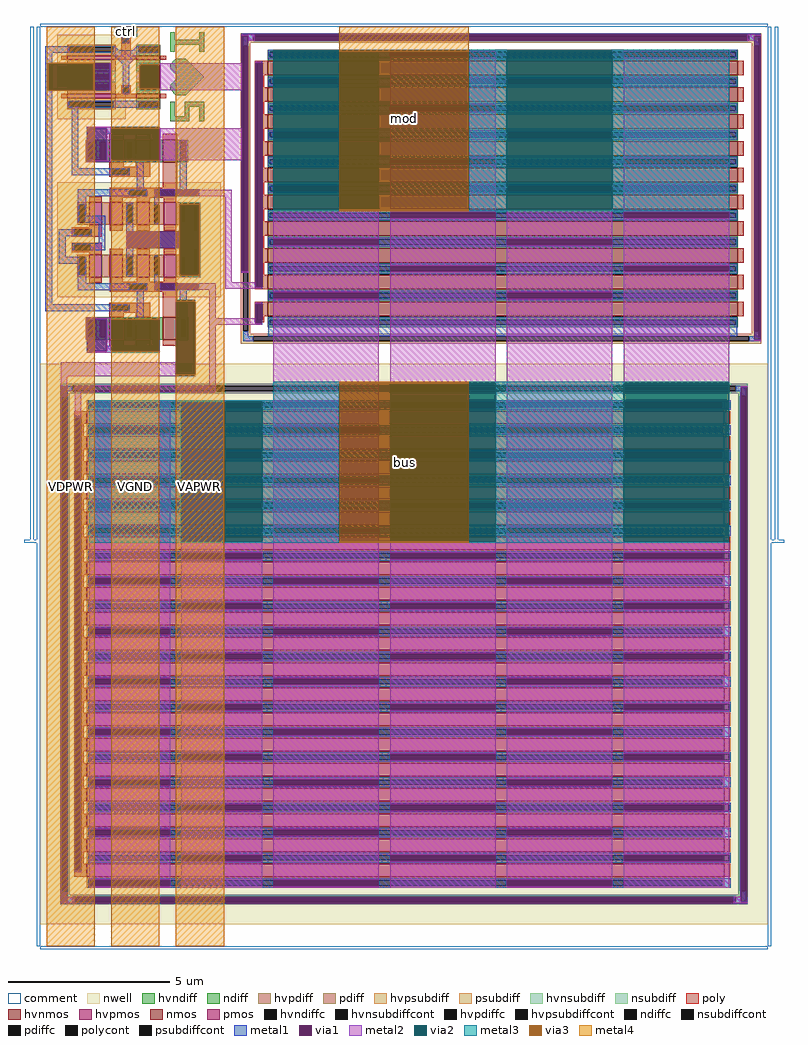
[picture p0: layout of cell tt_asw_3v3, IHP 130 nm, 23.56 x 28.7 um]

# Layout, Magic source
magic
tech ihp-sg13cmos5l
magscale 1 2
<< metal1 >>
rect 462 5679 602 5680
rect 462 5639 471 5679
rect 593 5639 602 5679
rect 462 5638 602 5639
rect 1248 5655 4468 5656
rect 1248 5646 1331 5655
rect 622 5465 746 5474
rect 622 5315 623 5465
rect 745 5315 746 5465
rect 622 5306 746 5315
rect 290 5071 414 5080
rect 290 4873 291 5071
rect 413 4873 414 5071
rect 290 4864 414 4873
rect 865 4599 989 4608
rect 865 4433 866 4599
rect 865 4161 866 4327
rect 988 4161 989 4599
rect 1248 4185 1249 5646
rect 1289 5615 1331 5646
rect 4385 5646 4468 5655
rect 4385 5615 4427 5646
rect 1289 5614 4427 5615
rect 1289 4185 1290 5614
rect 1414 5548 4322 5558
rect 1414 5508 2170 5548
rect 2824 5508 3618 5548
rect 4272 5508 4322 5548
rect 1414 5498 4322 5508
rect 1248 4176 1290 4185
rect 1334 5477 1376 5486
rect 865 4152 989 4161
rect 1334 4085 1335 5477
rect 1375 4085 1376 5477
rect 1414 5382 4322 5392
rect 1414 5342 1446 5382
rect 2100 5342 2894 5382
rect 3548 5342 4322 5382
rect 1414 5332 4322 5342
rect 1414 5216 4322 5226
rect 1414 5176 2170 5216
rect 2824 5176 3618 5216
rect 4272 5176 4322 5216
rect 1414 5166 4322 5176
rect 1414 5050 4322 5060
rect 1414 5010 1446 5050
rect 2100 5010 2894 5050
rect 3548 5010 4322 5050
rect 1414 5000 4322 5010
rect 1414 4884 4322 4894
rect 1414 4844 2170 4884
rect 2824 4844 3618 4884
rect 4272 4844 4322 4884
rect 1414 4834 4322 4844
rect 1414 4718 4322 4728
rect 1414 4678 1446 4718
rect 2100 4678 2894 4718
rect 3548 4678 4322 4718
rect 1414 4668 4322 4678
rect 1414 4552 4322 4562
rect 1414 4512 2170 4552
rect 2824 4512 3618 4552
rect 4272 4512 4322 4552
rect 1414 4502 4322 4512
rect 1414 4386 4322 4396
rect 1414 4346 1446 4386
rect 2100 4346 2894 4386
rect 3548 4346 4322 4386
rect 1414 4336 4322 4346
rect 1414 4220 4322 4230
rect 1414 4180 2170 4220
rect 2824 4180 3618 4220
rect 4272 4180 4322 4220
rect 1414 4170 4322 4180
rect 1334 4076 1376 4085
rect 1414 4054 4322 4064
rect 1414 4014 1446 4054
rect 2100 4014 2894 4054
rect 3548 4014 4322 4054
rect 1414 4004 4322 4014
rect 1334 3983 1376 3992
rect 290 3887 414 3896
rect 290 3689 291 3887
rect 413 3689 414 3887
rect 290 3680 414 3689
rect 1334 3861 1335 3983
rect 1375 3861 1376 3983
rect 1334 3852 1376 3861
rect 1414 3782 4322 3898
rect 4426 3759 4427 5614
rect 4467 3759 4468 5646
rect 4426 3750 4468 3759
rect 128 3465 170 3474
rect 128 274 129 3465
rect 169 306 170 3465
rect 4342 3465 4384 3474
rect 297 3376 4281 3386
rect 297 3336 876 3376
rect 1376 3336 2170 3376
rect 2824 3336 3618 3376
rect 4272 3336 4281 3376
rect 297 3326 4281 3336
rect 214 3280 256 3289
rect 214 468 215 3280
rect 255 468 256 3280
rect 297 3220 4281 3230
rect 297 3180 306 3220
rect 806 3180 1446 3220
rect 2100 3180 2894 3220
rect 3548 3180 4281 3220
rect 297 3170 4281 3180
rect 297 3064 4281 3074
rect 297 3024 876 3064
rect 1376 3024 2170 3064
rect 2824 3024 3618 3064
rect 4272 3024 4281 3064
rect 297 3014 4281 3024
rect 297 2908 4281 2918
rect 297 2868 306 2908
rect 806 2868 1446 2908
rect 2100 2868 2894 2908
rect 3548 2868 4281 2908
rect 297 2858 4281 2868
rect 297 2752 4281 2762
rect 297 2712 876 2752
rect 1376 2712 2170 2752
rect 2824 2712 3618 2752
rect 4272 2712 4281 2752
rect 297 2702 4281 2712
rect 297 2596 4281 2606
rect 297 2556 306 2596
rect 806 2556 1446 2596
rect 2100 2556 2894 2596
rect 3548 2556 4281 2596
rect 297 2546 4281 2556
rect 297 2440 4281 2450
rect 297 2400 876 2440
rect 1376 2400 2170 2440
rect 2824 2400 3618 2440
rect 4272 2400 4281 2440
rect 297 2390 4281 2400
rect 297 2284 4281 2294
rect 297 2244 306 2284
rect 806 2244 1446 2284
rect 2100 2244 2894 2284
rect 3548 2244 4281 2284
rect 297 2234 4281 2244
rect 297 2128 4281 2138
rect 297 2088 876 2128
rect 1376 2088 2170 2128
rect 2824 2088 3618 2128
rect 4272 2088 4281 2128
rect 297 2078 4281 2088
rect 297 1972 4281 1982
rect 297 1932 306 1972
rect 806 1932 1446 1972
rect 2100 1932 2894 1972
rect 3548 1932 4281 1972
rect 297 1922 4281 1932
rect 297 1816 4281 1826
rect 297 1776 876 1816
rect 1376 1776 2170 1816
rect 2824 1776 3618 1816
rect 4272 1776 4281 1816
rect 297 1766 4281 1776
rect 297 1660 4281 1670
rect 297 1620 306 1660
rect 806 1620 1446 1660
rect 2100 1620 2894 1660
rect 3548 1620 4281 1660
rect 297 1610 4281 1620
rect 297 1504 4281 1514
rect 297 1464 876 1504
rect 1376 1464 2170 1504
rect 2824 1464 3618 1504
rect 4272 1464 4281 1504
rect 297 1454 4281 1464
rect 297 1348 4281 1358
rect 297 1308 306 1348
rect 806 1308 1446 1348
rect 2100 1308 2894 1348
rect 3548 1308 4281 1348
rect 297 1298 4281 1308
rect 297 1192 4281 1202
rect 297 1152 876 1192
rect 1376 1152 2170 1192
rect 2824 1152 3618 1192
rect 4272 1152 4281 1192
rect 297 1142 4281 1152
rect 297 1036 4281 1046
rect 297 996 306 1036
rect 806 996 1446 1036
rect 2100 996 2894 1036
rect 3548 996 4281 1036
rect 297 986 4281 996
rect 297 880 4281 890
rect 297 840 876 880
rect 1376 840 2170 880
rect 2824 840 3618 880
rect 4272 840 4281 880
rect 297 830 4281 840
rect 297 724 4281 734
rect 297 684 306 724
rect 806 684 1446 724
rect 2100 684 2894 724
rect 3548 684 4281 724
rect 297 674 4281 684
rect 297 568 4281 578
rect 297 528 876 568
rect 1376 528 2170 568
rect 2824 528 3618 568
rect 4272 528 4281 568
rect 297 518 4281 528
rect 214 459 256 468
rect 297 412 4281 422
rect 297 372 306 412
rect 806 372 1446 412
rect 2100 372 2894 412
rect 3548 372 4281 412
rect 297 362 4281 372
rect 4342 306 4343 3465
rect 169 305 4343 306
rect 169 274 211 305
rect 128 265 211 274
rect 4301 274 4343 305
rect 4383 274 4384 3465
rect 4301 265 4384 274
rect 128 264 4384 265
<< via1 >>
rect 471 5639 593 5679
rect 181 5307 433 5473
rect 623 5315 745 5465
rect 291 4873 413 5071
rect 455 5039 660 5079
rect 702 4873 742 5071
rect 715 4651 978 4691
rect 866 4433 988 4599
rect 544 4327 988 4433
rect 866 4161 988 4327
rect 1249 4185 1289 5646
rect 1331 5615 4385 5655
rect 2170 5508 2824 5548
rect 3618 5508 4272 5548
rect 715 4069 978 4109
rect 1335 4085 1375 5477
rect 1446 5342 2100 5382
rect 2894 5342 3548 5382
rect 2170 5176 2824 5216
rect 3618 5176 4272 5216
rect 1446 5010 2100 5050
rect 2894 5010 3548 5050
rect 2170 4844 2824 4884
rect 3618 4844 4272 4884
rect 1446 4678 2100 4718
rect 2894 4678 3548 4718
rect 2170 4512 2824 4552
rect 3618 4512 4272 4552
rect 1446 4346 2100 4386
rect 2894 4346 3548 4386
rect 2170 4180 2824 4220
rect 3618 4180 4272 4220
rect 1446 4014 2100 4054
rect 2894 4014 3548 4054
rect 291 3689 413 3887
rect 455 3681 660 3721
rect 702 3689 742 3887
rect 1335 3861 1375 3983
rect 4427 3759 4467 5646
rect 129 274 169 3465
rect 876 3336 1376 3376
rect 2170 3336 2824 3376
rect 3618 3336 4272 3376
rect 215 468 255 3280
rect 306 3180 806 3220
rect 1446 3180 2100 3220
rect 2894 3180 3548 3220
rect 876 3024 1376 3064
rect 2170 3024 2824 3064
rect 3618 3024 4272 3064
rect 306 2868 806 2908
rect 1446 2868 2100 2908
rect 2894 2868 3548 2908
rect 876 2712 1376 2752
rect 2170 2712 2824 2752
rect 3618 2712 4272 2752
rect 306 2556 806 2596
rect 1446 2556 2100 2596
rect 2894 2556 3548 2596
rect 876 2400 1376 2440
rect 2170 2400 2824 2440
rect 3618 2400 4272 2440
rect 306 2244 806 2284
rect 1446 2244 2100 2284
rect 2894 2244 3548 2284
rect 876 2088 1376 2128
rect 2170 2088 2824 2128
rect 3618 2088 4272 2128
rect 306 1932 806 1972
rect 1446 1932 2100 1972
rect 2894 1932 3548 1972
rect 876 1776 1376 1816
rect 2170 1776 2824 1816
rect 3618 1776 4272 1816
rect 306 1620 806 1660
rect 1446 1620 2100 1660
rect 2894 1620 3548 1660
rect 876 1464 1376 1504
rect 2170 1464 2824 1504
rect 3618 1464 4272 1504
rect 306 1308 806 1348
rect 1446 1308 2100 1348
rect 2894 1308 3548 1348
rect 876 1152 1376 1192
rect 2170 1152 2824 1192
rect 3618 1152 4272 1192
rect 306 996 806 1036
rect 1446 996 2100 1036
rect 2894 996 3548 1036
rect 876 840 1376 880
rect 2170 840 2824 880
rect 3618 840 4272 880
rect 306 684 806 724
rect 1446 684 2100 724
rect 2894 684 3548 724
rect 876 528 1376 568
rect 2170 528 2824 568
rect 3618 528 4272 568
rect 306 372 806 412
rect 1446 372 2100 412
rect 2894 372 3548 412
rect 211 265 4301 305
rect 4343 274 4383 3465
<< metal2 >>
rect 462 5679 602 5680
rect 462 5639 471 5679
rect 593 5639 602 5679
rect 462 5638 602 5639
rect 1249 5646 1331 5655
rect 40 5306 49 5474
rect 331 5473 442 5474
rect 433 5307 442 5473
rect 331 5306 442 5307
rect 618 5465 1249 5474
rect 745 5315 1249 5465
rect 618 5306 1249 5315
rect 291 5079 742 5080
rect 291 5071 455 5079
rect 660 5072 742 5079
rect 660 5071 1249 5072
rect 413 4873 440 5071
rect 742 4873 1249 5071
rect 291 4872 1249 4873
rect 291 4864 742 4872
rect 706 4651 715 4691
rect 978 4651 1188 4691
rect 866 4599 988 4608
rect 535 4433 866 4434
rect 535 4327 544 4433
rect 535 4326 866 4327
rect 866 4152 988 4161
rect 1148 4116 1188 4651
rect 1289 5615 1331 5646
rect 4385 5646 4467 5655
rect 4385 5615 4427 5646
rect 1446 5549 2100 5558
rect 1249 4176 1289 4185
rect 1335 5477 1375 5486
rect 706 4069 715 4109
rect 978 4069 1088 4109
rect 1148 4085 1335 4116
rect 1148 4076 1375 4085
rect 1446 4386 2100 4567
rect 840 4000 962 4009
rect 291 3887 742 3896
rect 413 3689 440 3887
rect 291 3681 455 3689
rect 660 3681 742 3689
rect 291 3680 742 3681
rect 129 3543 840 3620
rect 129 3534 962 3543
rect 1048 3892 1088 4069
rect 1446 4054 2100 4346
rect 1335 3983 1375 3992
rect 1048 3861 1335 3892
rect 1048 3852 1375 3861
rect 129 3465 169 3534
rect 1048 3474 1088 3852
rect 215 3434 1088 3474
rect 215 3280 255 3434
rect 215 459 255 468
rect 306 3220 806 3386
rect 306 2908 806 3180
rect 306 2596 806 2868
rect 306 2284 806 2556
rect 306 1972 806 2244
rect 306 1660 806 1932
rect 306 1348 806 1620
rect 306 1036 806 1308
rect 306 724 806 996
rect 306 412 806 684
rect 306 362 806 372
rect 876 3377 1376 3386
rect 876 2440 1376 2509
rect 876 2128 1376 2400
rect 876 1816 1376 2088
rect 876 1504 1376 1776
rect 876 1192 1376 1464
rect 876 880 1376 1152
rect 876 568 1376 840
rect 876 362 1376 528
rect 1446 3220 2100 4014
rect 1446 2908 2100 3180
rect 1446 2596 2100 2868
rect 1446 2284 2100 2556
rect 1446 1972 2100 2244
rect 1446 1660 2100 1932
rect 1446 1348 2100 1620
rect 1446 1036 2100 1308
rect 1446 724 2100 996
rect 1446 412 2100 684
rect 1446 362 2100 372
rect 2170 5548 2824 5558
rect 2170 5216 2824 5508
rect 2170 4884 2824 5176
rect 2170 4552 2824 4844
rect 2170 4220 2824 4512
rect 2170 3491 2824 4180
rect 2170 2440 2824 2509
rect 2170 2128 2824 2400
rect 2170 1816 2824 2088
rect 2170 1504 2824 1776
rect 2170 1192 2824 1464
rect 2170 880 2824 1152
rect 2170 568 2824 840
rect 2170 362 2824 528
rect 2894 5549 3548 5558
rect 2894 4386 3548 4567
rect 2894 4054 3548 4346
rect 2894 3220 3548 4014
rect 2894 2908 3548 3180
rect 2894 2596 3548 2868
rect 2894 2284 3548 2556
rect 2894 1972 3548 2244
rect 2894 1660 3548 1932
rect 2894 1348 3548 1620
rect 2894 1036 3548 1308
rect 2894 724 3548 996
rect 2894 412 3548 684
rect 2894 362 3548 372
rect 3618 5548 4272 5558
rect 3618 5216 4272 5508
rect 3618 4884 4272 5176
rect 3618 4552 4272 4844
rect 3618 4220 4272 4512
rect 3618 3491 4272 4180
rect 4427 3750 4467 3759
rect 3618 2440 4272 2509
rect 3618 2128 4272 2400
rect 3618 1816 4272 2088
rect 3618 1504 4272 1776
rect 3618 1192 4272 1464
rect 3618 880 4272 1152
rect 3618 568 4272 840
rect 3618 362 4272 528
rect 4343 3465 4383 3474
rect 169 274 211 305
rect 129 265 211 274
rect 4301 274 4343 305
rect 4383 274 4384 305
rect 4301 265 4384 274
<< via2 >>
rect 471 5639 593 5679
rect 49 5473 331 5474
rect 49 5307 181 5473
rect 181 5307 331 5473
rect 49 5306 331 5307
rect 618 5315 623 5465
rect 623 5315 740 5465
rect 440 5039 455 5071
rect 455 5039 660 5071
rect 660 5039 702 5071
rect 440 4873 702 5039
rect 702 4873 740 5071
rect 866 4161 988 4599
rect 1446 5382 2100 5549
rect 1446 5342 2100 5382
rect 1446 5050 2100 5342
rect 1446 5010 2100 5050
rect 1446 4718 2100 5010
rect 1446 4678 2100 4718
rect 1446 4567 2100 4678
rect 440 3721 702 3887
rect 440 3689 455 3721
rect 455 3689 660 3721
rect 660 3689 702 3721
rect 702 3689 740 3887
rect 840 3543 962 4000
rect 876 3376 1376 3377
rect 876 3336 1376 3376
rect 876 3064 1376 3336
rect 876 3024 1376 3064
rect 876 2752 1376 3024
rect 876 2712 1376 2752
rect 876 2509 1376 2712
rect 2170 3376 2824 3491
rect 2170 3336 2824 3376
rect 2170 3064 2824 3336
rect 2170 3024 2824 3064
rect 2170 2752 2824 3024
rect 2170 2712 2824 2752
rect 2170 2509 2824 2712
rect 2894 5382 3548 5549
rect 2894 5342 3548 5382
rect 2894 5050 3548 5342
rect 2894 5010 3548 5050
rect 2894 4718 3548 5010
rect 2894 4678 3548 4718
rect 2894 4567 3548 4678
rect 3618 3376 4272 3491
rect 3618 3336 4272 3376
rect 3618 3064 4272 3336
rect 3618 3024 4272 3064
rect 3618 2752 4272 3024
rect 3618 2712 4272 2752
rect 3618 2509 4272 2712
<< metal3 >>
rect 462 5679 602 5700
rect 462 5639 471 5679
rect 593 5639 602 5679
rect 462 5638 602 5639
rect 1446 5549 4272 5558
rect 40 5306 49 5474
rect 331 5306 340 5474
rect 618 5465 740 5474
rect 618 5306 740 5315
rect 440 5071 740 5080
rect 440 4864 740 4873
rect 866 4599 988 4608
rect 2656 4567 2894 5549
rect 3548 4567 4272 5549
rect 1446 4558 4272 4567
rect 866 4152 988 4161
rect 840 4000 962 4009
rect 440 3887 740 3896
rect 440 3680 740 3689
rect 840 3534 962 3543
rect 1446 3491 4272 3500
rect 1446 3386 1856 3491
rect 306 3377 1856 3386
rect 306 2509 876 3377
rect 1376 2509 1856 3377
rect 2824 2509 3618 3491
rect 306 2500 4272 2509
<< via3 >>
rect 49 5306 331 5474
rect 618 5315 740 5465
rect 440 4873 740 5071
rect 866 4161 988 4599
rect 1856 4567 2100 5549
rect 2100 4567 2656 5549
rect 440 3689 740 3887
rect 840 3543 962 4000
rect 1856 2509 2170 3491
rect 2170 2509 2656 3491
<< metal4 >>
rect 40 5474 340 5700
rect 40 5306 49 5474
rect 331 5306 340 5474
rect 40 0 340 5306
rect 440 5465 740 5700
rect 440 5315 618 5465
rect 440 5071 740 5315
rect 440 3887 740 4873
rect 440 0 740 3689
rect 840 4599 1140 5700
rect 840 4161 866 4599
rect 988 4161 1140 4599
rect 1856 5549 2656 5700
rect 1856 4558 2656 4567
rect 840 4000 1140 4161
rect 962 3543 1140 4000
rect 840 0 1140 3543
rect 1856 3491 2656 3500
rect 1856 2500 2656 2509
<< comment >>
rect 0 5700 4512 5720
rect -60 2520 -40 5700
rect -20 2520 0 5700
rect -100 2500 0 2520
rect -20 0 0 2500
rect 4512 2520 4532 5700
rect 4556 2520 4576 5700
rect 4512 2500 4612 2520
rect 4512 0 4532 2500
rect 0 -20 4512 0
use lv2hv  lv2hv_0
transform 0 -1 1120 1 0 3680
box 0 0 2000 1088
use tg_nmos  tg_nmos_0
transform 1 0 1244 0 1 3736
box 0 0 3228 1924
use tg_pmos  tg_pmos_0
transform 1 0 0 0 1 136
box 0 0 4512 3476
<< labels >>
flabel metal4 s 440 0 740 5700 0 FreeSans 400 0 0 0 VGND
port 1 nsew ground input
flabel metal4 s 40 0 340 5700 0 FreeSans 400 0 0 0 VDPWR
port 2 nsew power input
flabel metal4 s 840 0 1140 5700 0 FreeSans 400 0 0 0 VAPWR
port 3 nsew power input
flabel metal4 s 1856 4558 2656 5700 0 FreeSans 240 0 0 0 mod
port 5 nsew analog bidirectional
flabel metal4 s 1856 2500 2656 3500 0 FreeSans 240 0 0 0 bus
port 6 nsew analog bidirectional
flabel metal3 s 462 5638 602 5700 0 FreeSans 240 0 0 0 ctrl
port 4 nsew signal input
<< properties >>
string FIXED_BBOX 0 0 4512 5700
<< end >>

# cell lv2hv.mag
magic
tech ihp-sg13cmos5l
magscale 1 2
<< ndiff >>
rect 1435 284 1555 314
rect 1435 224 1465 284
tri 1597 279 1632 314 se
rect 1632 279 1659 314
rect 1597 272 1659 279
tri 1659 272 1701 314 sw
tri 1719 272 1761 314 se
rect 1761 279 1788 314
tri 1788 279 1823 314 sw
rect 1865 284 1985 314
rect 1761 272 1823 279
rect 1435 194 1555 224
rect 1525 134 1555 194
rect 1435 104 1555 134
rect 1597 217 1823 272
tri 1597 104 1710 217 ne
tri 1710 104 1823 217 nw
rect 1910 134 1940 284
rect 1865 104 1985 134
<< metal1 >>
rect 258 1046 1901 1088
rect 258 883 300 1046
rect 1859 948 1901 1046
rect 1100 883 1519 925
rect 0 377 42 827
rect 388 133 430 175
rect 646 133 754 585
rect 1358 377 1400 827
rect 1626 678 1794 948
rect 1918 566 2000 610
rect 1626 378 1794 498
rect 970 133 1012 175
use lv2hv_core  lv2hv_core_0
transform 0 1 0 -1 0 1014
box 0 0 1014 1400
use lv2hv_dual_inv  lv2hv_dual_inv_0
transform 0 1 1448 -1 0 1014
box 0 0 676 552
<< labels >>
flabel metal1 s 1626 378 1794 498 0 FreeSans 400 0 0 0 VGND
port 1 nsew
flabel metal1 s 1358 377 1400 827 0 FreeSans 400 0 0 0 VGND
port 1 nsew
flabel metal1 s 0 377 42 827 0 FreeSans 400 0 0 0 VGND
port 1 nsew
flabel metal1 s 1626 678 1794 948 0 FreeSans 400 0 0 0 VDPWR
port 2 nsew
flabel metal1 s 646 133 754 585 0 FreeSans 400 0 0 0 VAPWR
port 3 nsew
flabel metal1 s 1918 566 2000 610 0 FreeSans 400 0 0 0 in
port 4 nsew
flabel metal1 s 970 133 1012 175 0 FreeSans 400 0 0 0 out_p
port 5 nsew
flabel metal1 s 388 133 430 175 0 FreeSans 400 0 0 0 out_n
port 6 nsew
<< properties >>
string FIXED_BBOX 0 0 2000 1100
string MASKHINTS_PSD 388 194 1012 195
<< end >>

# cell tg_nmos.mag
magic
tech ihp-sg13cmos5l
<< hvnmos >>
rect 83 832 1541 877
rect 83 749 1541 794
rect 83 666 1541 711
rect 83 583 1541 628
rect 83 500 1541 545
rect 83 417 1541 462
rect 83 334 1541 379
rect 83 251 1541 296
rect 83 168 1541 213
rect 83 85 1541 130
<< hvndiff >>
rect 83 904 1541 911
rect 83 888 90 904
rect 1534 888 1541 904
rect 83 877 1541 888
rect 83 821 1541 832
rect 83 805 90 821
rect 1534 805 1541 821
rect 83 794 1541 805
rect 83 738 1541 749
rect 83 722 90 738
rect 1534 722 1541 738
rect 83 711 1541 722
rect 83 655 1541 666
rect 83 639 90 655
rect 1534 639 1541 655
rect 83 628 1541 639
rect 83 572 1541 583
rect 83 556 90 572
rect 1534 556 1541 572
rect 83 545 1541 556
rect 83 489 1541 500
rect 83 473 90 489
rect 1534 473 1541 489
rect 83 462 1541 473
rect 83 406 1541 417
rect 83 390 90 406
rect 1534 390 1541 406
rect 83 379 1541 390
rect 83 323 1541 334
rect 83 307 90 323
rect 1534 307 1541 323
rect 83 296 1541 307
rect 83 240 1541 251
rect 83 224 90 240
rect 1534 224 1541 240
rect 83 213 1541 224
rect 83 157 1541 168
rect 83 141 90 157
rect 1534 141 1541 157
rect 83 130 1541 141
rect 83 74 1541 85
rect 83 58 90 74
rect 1534 58 1541 74
rect 83 51 1541 58
<< hvndiffc >>
rect 90 888 1534 904
rect 90 805 1534 821
rect 90 722 1534 738
rect 90 639 1534 655
rect 90 556 1534 572
rect 90 473 1534 489
rect 90 390 1534 406
rect 90 307 1534 323
rect 90 224 1534 240
rect 90 141 1534 157
rect 90 58 1534 74
<< hvpsubdiff >>
rect 0 955 1614 962
rect 0 939 38 955
rect 1576 939 1614 955
rect 0 932 1614 939
rect 0 924 30 932
rect 0 38 7 924
rect 23 38 30 924
rect 1584 924 1614 932
rect 0 30 30 38
rect 1584 38 1591 924
rect 1607 38 1614 924
rect 1584 30 1614 38
rect 0 23 1614 30
rect 0 7 38 23
rect 1576 7 1614 23
rect 0 0 1614 7
<< hvpsubdiffcont >>
rect 38 939 1576 955
rect 7 38 23 924
rect 1591 38 1607 924
rect 38 7 1576 23
<< poly >>
rect 43 870 83 877
rect 43 175 50 870
rect 66 832 83 870
rect 1541 832 1559 877
rect 66 794 73 832
rect 66 749 83 794
rect 1541 749 1559 794
rect 66 711 73 749
rect 66 666 83 711
rect 1541 666 1559 711
rect 66 628 73 666
rect 66 583 83 628
rect 1541 583 1559 628
rect 66 545 73 583
rect 66 500 83 545
rect 1541 500 1559 545
rect 66 462 73 500
rect 66 417 83 462
rect 1541 417 1559 462
rect 66 379 73 417
rect 66 334 83 379
rect 1541 334 1559 379
rect 66 296 73 334
rect 66 251 83 296
rect 1541 251 1559 296
rect 66 213 73 251
rect 66 175 83 213
rect 43 168 83 175
rect 1541 168 1559 213
rect 43 123 83 130
rect 43 73 50 123
rect 66 85 83 123
rect 1541 85 1559 130
rect 66 73 73 85
rect 43 66 73 73
<< polycont >>
rect 50 175 66 870
rect 50 73 66 123
<< metal1 >>
rect 7 939 38 955
rect 1576 939 1607 955
rect 7 924 23 939
rect 1591 924 1607 939
rect 85 888 90 904
rect 1534 888 1539 904
rect 50 870 66 875
rect 85 805 90 821
rect 1534 805 1539 821
rect 85 722 90 738
rect 1534 722 1539 738
rect 85 639 90 655
rect 1534 639 1539 655
rect 85 556 90 572
rect 1534 556 1539 572
rect 85 473 90 489
rect 1534 473 1539 489
rect 85 390 90 406
rect 1534 390 1539 406
rect 85 307 90 323
rect 1534 307 1539 323
rect 85 224 90 240
rect 1534 224 1539 240
rect 50 170 66 175
rect 85 141 90 157
rect 1534 141 1539 157
rect 50 123 66 128
rect 50 68 66 73
rect 85 58 90 74
rect 1534 58 1539 74
rect 7 23 23 38
rect 1591 23 1607 38
rect 7 7 38 23
rect 1576 7 1607 23
<< properties >>
string FIXED_BBOX 0 0 1614 962
<< end >>

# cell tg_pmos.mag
magic
tech ihp-sg13cmos5l
magscale 1 2
<< nwell >>
rect 0 0 4512 3476
<< hvpmos >>
rect 290 3102 4242 3182
rect 290 2946 4242 3026
rect 290 2790 4242 2870
rect 290 2634 4242 2714
rect 290 2478 4242 2558
rect 290 2322 4242 2402
rect 290 2166 4242 2246
rect 290 2010 4242 2090
rect 290 1854 4242 1934
rect 290 1698 4242 1778
rect 290 1542 4242 1622
rect 290 1386 4242 1466
rect 290 1230 4242 1310
rect 290 1074 4242 1154
rect 290 918 4242 998
rect 290 762 4242 842
rect 290 606 4242 686
rect 290 450 4242 530
rect 290 294 4242 374
<< hvpdiff >>
rect 290 3236 4242 3250
rect 290 3204 308 3236
rect 4228 3204 4242 3236
rect 290 3182 4242 3204
rect 290 3080 4242 3102
rect 290 3048 308 3080
rect 4228 3048 4242 3080
rect 290 3026 4242 3048
rect 290 2924 4242 2946
rect 290 2892 308 2924
rect 4228 2892 4242 2924
rect 290 2870 4242 2892
rect 290 2768 4242 2790
rect 290 2736 308 2768
rect 4228 2736 4242 2768
rect 290 2714 4242 2736
rect 290 2612 4242 2634
rect 290 2580 308 2612
rect 4228 2580 4242 2612
rect 290 2558 4242 2580
rect 290 2456 4242 2478
rect 290 2424 308 2456
rect 4228 2424 4242 2456
rect 290 2402 4242 2424
rect 290 2300 4242 2322
rect 290 2268 308 2300
rect 4228 2268 4242 2300
rect 290 2246 4242 2268
rect 290 2144 4242 2166
rect 290 2112 308 2144
rect 4228 2112 4242 2144
rect 290 2090 4242 2112
rect 290 1988 4242 2010
rect 290 1956 308 1988
rect 4228 1956 4242 1988
rect 290 1934 4242 1956
rect 290 1832 4242 1854
rect 290 1800 308 1832
rect 4228 1800 4242 1832
rect 290 1778 4242 1800
rect 290 1676 4242 1698
rect 290 1644 308 1676
rect 4228 1644 4242 1676
rect 290 1622 4242 1644
rect 290 1520 4242 1542
rect 290 1488 308 1520
rect 4228 1488 4242 1520
rect 290 1466 4242 1488
rect 290 1364 4242 1386
rect 290 1332 308 1364
rect 4228 1332 4242 1364
rect 290 1310 4242 1332
rect 290 1208 4242 1230
rect 290 1176 308 1208
rect 4228 1176 4242 1208
rect 290 1154 4242 1176
rect 290 1052 4242 1074
rect 290 1020 308 1052
rect 4228 1020 4242 1052
rect 290 998 4242 1020
rect 290 896 4242 918
rect 290 864 308 896
rect 4228 864 4242 896
rect 290 842 4242 864
rect 290 740 4242 762
rect 290 708 308 740
rect 4228 708 4242 740
rect 290 686 4242 708
rect 290 584 4242 606
rect 290 552 308 584
rect 4228 552 4242 584
rect 290 530 4242 552
rect 290 428 4242 450
rect 290 396 308 428
rect 4228 396 4242 428
rect 290 374 4242 396
rect 290 272 4242 294
rect 290 240 308 272
rect 4228 240 4242 272
rect 290 226 4242 240
<< hvpdiffc >>
rect 308 3204 4228 3236
rect 308 3048 4228 3080
rect 308 2892 4228 2924
rect 308 2736 4228 2768
rect 308 2580 4228 2612
rect 308 2424 4228 2456
rect 308 2268 4228 2300
rect 308 2112 4228 2144
rect 308 1956 4228 1988
rect 308 1800 4228 1832
rect 308 1644 4228 1676
rect 308 1488 4228 1520
rect 308 1332 4228 1364
rect 308 1176 4228 1208
rect 308 1020 4228 1052
rect 308 864 4228 896
rect 308 708 4228 740
rect 308 552 4228 584
rect 308 396 4228 428
rect 308 240 4228 272
<< hvnsubdiff >>
rect 124 3338 4388 3352
rect 124 3306 200 3338
rect 4312 3306 4388 3338
rect 124 3292 4388 3306
rect 124 3271 184 3292
rect 124 200 138 3271
rect 170 200 184 3271
rect 4328 3276 4388 3292
rect 124 184 184 200
rect 4328 205 4342 3276
rect 4374 205 4388 3276
rect 4328 184 4388 205
rect 124 170 4388 184
rect 124 138 200 170
rect 4312 138 4388 170
rect 124 124 4388 138
<< hvnsubdiffcont >>
rect 200 3306 4312 3338
rect 138 200 170 3271
rect 4342 205 4374 3276
rect 200 138 4312 170
<< poly >>
rect 210 3143 290 3182
rect 210 333 224 3143
rect 256 3102 290 3143
rect 4242 3102 4278 3182
rect 256 3026 270 3102
rect 256 2946 290 3026
rect 4242 2946 4278 3026
rect 256 2870 270 2946
rect 256 2790 290 2870
rect 4242 2790 4278 2870
rect 256 2714 270 2790
rect 256 2634 290 2714
rect 4242 2634 4278 2714
rect 256 2558 270 2634
rect 256 2478 290 2558
rect 4242 2478 4278 2558
rect 256 2402 270 2478
rect 256 2322 290 2402
rect 4242 2322 4278 2402
rect 256 2246 270 2322
rect 256 2166 290 2246
rect 4242 2166 4278 2246
rect 256 2090 270 2166
rect 256 2010 290 2090
rect 4242 2010 4278 2090
rect 256 1934 270 2010
rect 256 1854 290 1934
rect 4242 1854 4278 1934
rect 256 1778 270 1854
rect 256 1698 290 1778
rect 4242 1698 4278 1778
rect 256 1622 270 1698
rect 256 1542 290 1622
rect 4242 1542 4278 1622
rect 256 1466 270 1542
rect 256 1386 290 1466
rect 4242 1386 4278 1466
rect 256 1310 270 1386
rect 256 1230 290 1310
rect 4242 1230 4278 1310
rect 256 1154 270 1230
rect 256 1074 290 1154
rect 4242 1074 4278 1154
rect 256 998 270 1074
rect 256 918 290 998
rect 4242 918 4278 998
rect 256 842 270 918
rect 256 762 290 842
rect 4242 762 4278 842
rect 256 686 270 762
rect 256 606 290 686
rect 4242 606 4278 686
rect 256 530 270 606
rect 256 450 290 530
rect 4242 450 4278 530
rect 256 374 270 450
rect 256 333 290 374
rect 210 294 290 333
rect 4242 294 4278 374
<< polycont >>
rect 224 333 256 3143
<< metal1 >>
rect 138 3306 200 3338
rect 4312 3306 4374 3338
rect 138 3271 170 3306
rect 4342 3276 4374 3306
rect 298 3204 308 3236
rect 4228 3204 4238 3236
rect 224 3143 256 3153
rect 298 3048 308 3080
rect 4228 3048 4238 3080
rect 298 2892 308 2924
rect 4228 2892 4238 2924
rect 298 2736 308 2768
rect 4228 2736 4238 2768
rect 298 2580 308 2612
rect 4228 2580 4238 2612
rect 298 2424 308 2456
rect 4228 2424 4238 2456
rect 298 2268 308 2300
rect 4228 2268 4238 2300
rect 298 2112 308 2144
rect 4228 2112 4238 2144
rect 298 1956 308 1988
rect 4228 1956 4238 1988
rect 298 1800 308 1832
rect 4228 1800 4238 1832
rect 298 1644 308 1676
rect 4228 1644 4238 1676
rect 298 1488 308 1520
rect 4228 1488 4238 1520
rect 298 1332 308 1364
rect 4228 1332 4238 1364
rect 298 1176 308 1208
rect 4228 1176 4238 1208
rect 298 1020 308 1052
rect 4228 1020 4238 1052
rect 298 864 308 896
rect 4228 864 4238 896
rect 298 708 308 740
rect 4228 708 4238 740
rect 298 552 308 584
rect 4228 552 4238 584
rect 298 396 308 428
rect 4228 396 4238 428
rect 224 323 256 333
rect 298 240 308 272
rect 4228 240 4238 272
rect 138 170 170 200
rect 4342 170 4374 205
rect 138 138 200 170
rect 4312 138 4374 170
<< properties >>
string FIXED_BBOX 0 0 4512 3476
<< end >>

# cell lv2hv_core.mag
magic
tech ihp-sg13cmos5l
magscale 1 2
<< nwell >>
rect 0 344 1014 1056
<< hvnmos >>
rect 322 1180 412 1320
rect 488 1180 578 1320
rect 654 1180 744 1320
rect 322 80 412 220
rect 488 80 578 220
rect 654 80 744 220
<< hvpmos >>
rect 197 792 277 932
rect 327 792 407 932
rect 493 792 573 932
rect 659 792 739 932
rect 197 468 277 608
rect 327 468 407 608
rect 493 468 573 608
rect 659 468 739 608
<< hvndiff >>
rect 242 1306 322 1320
rect 242 1194 268 1306
rect 300 1194 322 1306
rect 242 1180 322 1194
rect 412 1306 488 1320
rect 412 1194 434 1306
rect 466 1194 488 1306
rect 412 1180 488 1194
rect 578 1306 654 1320
rect 578 1194 600 1306
rect 632 1194 654 1306
rect 578 1180 654 1194
rect 744 1306 812 1320
rect 744 1194 766 1306
rect 798 1194 812 1306
rect 744 1180 812 1194
rect 242 206 322 220
rect 242 94 268 206
rect 300 94 322 206
rect 242 80 322 94
rect 412 206 488 220
rect 412 94 434 206
rect 466 94 488 206
rect 412 80 488 94
rect 578 206 654 220
rect 578 94 600 206
rect 632 94 654 206
rect 578 80 654 94
rect 744 206 812 220
rect 744 94 766 206
rect 798 94 812 206
rect 744 80 812 94
<< hvpdiff >>
rect 124 918 197 932
rect 124 806 138 918
rect 170 806 197 918
rect 124 792 197 806
rect 277 792 327 932
rect 407 918 493 932
rect 407 806 434 918
rect 466 806 493 918
rect 407 792 493 806
rect 573 918 659 932
rect 573 806 600 918
rect 632 806 659 918
rect 573 792 659 806
rect 739 918 820 932
rect 739 806 766 918
rect 798 806 820 918
rect 739 792 820 806
rect 124 594 197 608
rect 124 482 138 594
rect 170 482 197 594
rect 124 468 197 482
rect 277 468 327 608
rect 407 594 493 608
rect 407 482 434 594
rect 466 482 493 594
rect 407 468 493 482
rect 573 594 659 608
rect 573 482 600 594
rect 632 482 659 594
rect 573 468 659 482
rect 739 594 820 608
rect 739 482 766 594
rect 798 482 820 594
rect 739 468 820 482
<< hvndiffc >>
rect 268 1194 300 1306
rect 434 1194 466 1306
rect 600 1194 632 1306
rect 766 1194 798 1306
rect 268 94 300 206
rect 434 94 466 206
rect 600 94 632 206
rect 766 94 798 206
<< hvpdiffc >>
rect 138 806 170 918
rect 434 806 466 918
rect 600 806 632 918
rect 766 806 798 918
rect 138 482 170 594
rect 434 482 466 594
rect 600 482 632 594
rect 766 482 798 594
<< hvpsubdiff >>
rect 178 1306 242 1320
rect 178 1194 192 1306
rect 224 1194 242 1306
rect 178 1180 242 1194
rect 178 206 242 220
rect 178 94 192 206
rect 224 94 242 206
rect 178 80 242 94
<< hvnsubdiff >>
rect 820 904 890 932
rect 820 792 844 904
rect 830 608 844 792
rect 820 496 844 608
rect 876 496 890 904
rect 820 468 890 496
<< hvpsubdiffcont >>
rect 192 1194 224 1306
rect 192 94 224 206
<< hvnsubdiffcont >>
rect 844 496 876 904
<< poly >>
rect 322 1320 412 1356
rect 488 1320 578 1356
rect 654 1320 744 1356
rect 322 1152 412 1180
rect 488 1152 578 1180
rect 322 1137 578 1152
rect 322 1105 341 1137
rect 441 1105 578 1137
rect 322 1090 578 1105
rect 654 1022 744 1180
rect 327 1007 744 1022
rect 327 975 448 1007
rect 548 975 744 1007
rect 327 968 744 975
rect 197 932 277 968
rect 327 960 739 968
rect 327 932 407 960
rect 493 932 573 960
rect 659 932 739 960
rect 197 778 277 792
rect 90 764 277 778
rect 90 732 104 764
rect 204 732 277 764
rect 327 756 407 792
rect 493 756 573 792
rect 659 756 739 792
rect 90 718 277 732
rect 90 668 277 682
rect 90 636 104 668
rect 204 636 277 668
rect 90 622 277 636
rect 197 608 277 622
rect 327 608 407 644
rect 493 608 573 644
rect 659 608 739 644
rect 197 432 277 468
rect 327 440 407 468
rect 493 440 573 468
rect 659 440 739 468
rect 327 432 739 440
rect 327 425 744 432
rect 327 393 448 425
rect 548 393 744 425
rect 327 378 744 393
rect 322 295 578 310
rect 322 263 341 295
rect 441 263 578 295
rect 322 248 578 263
rect 322 220 412 248
rect 488 220 578 248
rect 654 220 744 378
rect 322 44 412 80
rect 488 44 578 80
rect 654 44 744 80
<< polycont >>
rect 341 1105 441 1137
rect 448 975 548 1007
rect 104 732 204 764
rect 104 636 204 668
rect 448 393 548 425
rect 341 263 441 295
<< metal1 >>
rect 187 1358 637 1400
rect 187 1306 305 1358
rect 187 1194 192 1306
rect 224 1194 268 1306
rect 300 1194 305 1306
rect 187 1184 305 1194
rect 429 1306 471 1316
rect 429 1194 434 1306
rect 466 1226 471 1306
rect 595 1306 637 1358
rect 466 1194 535 1226
rect 429 1184 535 1194
rect 595 1194 600 1306
rect 632 1194 637 1306
rect 595 1184 637 1194
rect 761 1306 803 1316
rect 761 1194 766 1306
rect 798 1194 803 1306
rect 131 1137 451 1142
rect 131 1105 341 1137
rect 441 1105 451 1137
rect 131 1100 451 1105
rect 493 1012 535 1184
rect 761 1012 803 1194
rect 128 1007 558 1012
rect 128 975 448 1007
rect 548 975 558 1007
rect 128 970 558 975
rect 600 970 881 1012
rect 128 918 180 970
rect 128 806 138 918
rect 170 848 180 918
rect 429 918 471 928
rect 170 806 298 848
rect 10 732 104 764
rect 204 732 214 764
rect 10 722 214 732
rect 10 594 52 722
rect 256 678 298 806
rect 94 668 298 678
rect 94 636 104 668
rect 204 636 298 668
rect 429 806 434 918
rect 466 806 471 918
rect 429 754 471 806
rect 600 918 632 970
rect 600 796 632 806
rect 761 918 881 928
rect 761 806 766 918
rect 798 904 881 918
rect 798 806 844 904
rect 761 754 844 806
rect 429 646 844 754
rect 429 594 471 646
rect 10 552 138 594
rect 128 482 138 552
rect 170 482 180 594
rect 128 430 180 482
rect 429 482 434 594
rect 466 482 471 594
rect 429 472 471 482
rect 600 594 632 604
rect 600 430 632 482
rect 761 594 844 646
rect 761 482 766 594
rect 798 496 844 594
rect 876 496 881 904
rect 798 482 881 496
rect 761 472 881 482
rect 128 425 558 430
rect 128 393 448 425
rect 548 393 558 425
rect 128 388 558 393
rect 600 388 881 430
rect 131 295 451 300
rect 131 263 341 295
rect 441 263 451 295
rect 131 258 451 263
rect 493 216 535 388
rect 187 206 305 216
rect 187 94 192 206
rect 224 94 268 206
rect 300 94 305 206
rect 187 42 305 94
rect 429 206 535 216
rect 429 94 434 206
rect 466 174 535 206
rect 595 206 637 216
rect 466 94 471 174
rect 429 84 471 94
rect 595 94 600 206
rect 632 94 637 206
rect 595 42 637 94
rect 761 206 803 388
rect 761 94 766 206
rect 798 94 803 206
rect 761 84 803 94
rect 187 0 637 42
<< labels >>
flabel metal1 s 187 1358 637 1400 0 FreeSans 400 0 0 0 VGND
port 0 nsew ground input
flabel metal1 s 187 0 637 42 0 FreeSans 400 0 0 0 VGND
port 0 nsew ground input
flabel metal1 s 429 646 881 754 0 FreeSans 400 0 0 0 VAPWR
port 1 nsew power input
flabel metal1 s 131 1100 173 1142 0 FreeSans 160 0 0 0 in_p
port 2 nsew signal input
flabel metal1 s 131 258 173 300 0 FreeSans 160 0 0 0 in_n
port 3 nsew signal input
flabel metal1 s 839 970 881 1012 0 FreeSans 160 0 0 0 out_p
port 4 nsew signal output
flabel metal1 s 839 388 881 430 0 FreeSans 160 0 0 0 out_n
port 5 nsew signal output
<< properties >>
string FIXED_BBOX 0 0 1014 1400
<< end >>

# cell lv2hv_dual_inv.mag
magic
tech ihp-sg13cmos5l
magscale 1 2
<< nwell >>
rect 0 518 424 524
rect 0 0 426 518
<< nmos >>
rect 490 368 640 394
rect 490 130 640 156
<< pmos >>
rect 62 368 362 394
rect 62 130 362 156
<< ndiff >>
rect 490 448 640 462
rect 490 416 504 448
rect 626 416 640 448
rect 490 394 640 416
rect 490 346 640 368
rect 490 314 526 346
rect 626 314 640 346
rect 490 296 640 314
rect 490 210 640 228
rect 490 178 526 210
rect 626 178 640 210
rect 490 156 640 178
rect 490 108 640 130
rect 490 76 504 108
rect 626 76 640 108
rect 490 62 640 76
<< pdiff >>
rect 62 448 362 462
rect 62 416 76 448
rect 348 416 362 448
rect 62 394 362 416
rect 62 346 362 368
rect 62 314 76 346
rect 326 314 362 346
rect 62 296 362 314
rect 62 210 362 228
rect 62 178 76 210
rect 326 178 362 210
rect 62 156 362 178
rect 62 108 362 130
rect 62 76 76 108
rect 348 76 362 108
rect 62 62 362 76
<< ndiffc >>
rect 504 416 626 448
rect 526 314 626 346
rect 526 178 626 210
rect 504 76 626 108
<< pdiffc >>
rect 76 416 348 448
rect 76 314 326 346
rect 76 178 326 210
rect 76 76 348 108
<< psubdiff >>
rect 490 278 640 296
rect 490 246 526 278
rect 626 246 640 278
rect 490 228 640 246
<< nsubdiff >>
rect 62 278 362 296
rect 62 246 76 278
rect 326 246 362 278
rect 62 228 362 246
<< psubdiffcont >>
rect 526 246 626 278
<< nsubdiffcont >>
rect 76 246 326 278
<< poly >>
rect 396 512 456 526
rect 396 480 410 512
rect 442 480 456 512
rect 396 394 456 480
rect 26 368 62 394
rect 362 368 490 394
rect 640 368 676 394
rect 396 197 456 211
rect 396 165 410 197
rect 442 165 456 197
rect 396 156 456 165
rect 26 130 62 156
rect 362 130 490 156
rect 640 130 676 156
<< polycont >>
rect 410 480 442 512
rect 410 165 442 197
<< metal1 >>
rect 404 512 448 552
rect 404 480 410 512
rect 442 480 448 512
rect 404 470 448 480
rect 66 448 358 453
rect 66 416 76 448
rect 348 428 358 448
tri 358 428 383 453 sw
tri 469 428 494 453 se
rect 494 448 636 453
rect 494 428 504 448
rect 348 416 504 428
rect 626 416 636 448
rect 66 411 636 416
tri 335 346 400 411 ne
rect 400 346 452 411
tri 452 346 517 411 nw
rect 66 314 76 346
rect 326 314 336 346
tri 400 341 405 346 ne
rect 66 278 336 314
rect 66 246 76 278
rect 326 246 336 278
rect 66 210 336 246
rect 66 178 76 210
rect 326 178 336 210
rect 405 197 447 346
tri 447 341 452 346 nw
rect 405 165 410 197
rect 442 165 447 197
rect 516 314 526 346
rect 626 314 636 346
rect 516 278 636 314
rect 516 246 526 278
rect 626 246 636 278
rect 516 210 636 246
rect 516 178 526 210
rect 626 178 636 210
rect 405 155 447 165
rect 66 108 636 113
rect 66 76 76 108
rect 348 76 504 108
rect 626 76 636 108
rect 66 71 636 76
<< labels >>
flabel metal1 s 516 178 636 346 0 FreeSans 400 0 0 0 VGND
port 0 nsew ground input
flabel metal1 s 66 178 336 346 0 FreeSans 400 0 0 0 VPWR
port 1 nsew power input
flabel metal1 s 404 470 448 552 0 FreeSans 160 0 0 0 in
port 2 nsew signal input
flabel metal1 s 66 411 358 453 0 FreeSans 160 0 0 0 out_n
port 3 nsew signal output
flabel metal1 s 494 411 636 453 0 FreeSans 160 0 0 0 out_n
port 3 nsew signal output
flabel metal1 s 66 71 636 113 0 FreeSans 160 0 0 0 out_p
port 4 nsew signal output
<< properties >>
string FIXED_BBOX 0 0 702 552
string MASKHINTS_PSD -6 70 26 454 398 296 430 454 398 228 484 296 398 70 430 228
<< end >>
